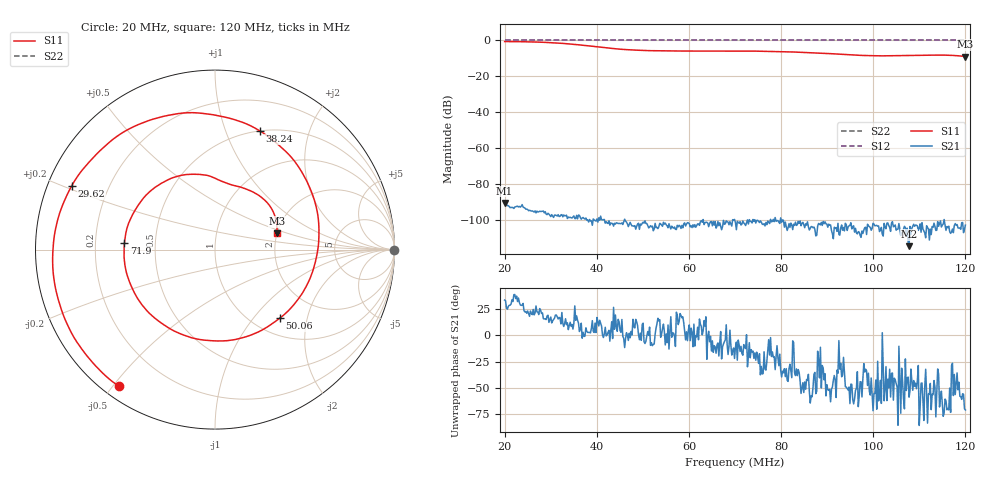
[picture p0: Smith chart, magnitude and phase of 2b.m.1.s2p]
! Anritsu VNA Master:  Model: MS2036C/10/77
! SN:  1601066
! /card0/usr/18may27.balun/252b.m.s2p
! Existing Calibration Information:
! TYPE:  Current Settings,  Active Cal Settings
! TIME:  05/27/2018 11:58:24 AM,  05/27/2018 11:54:56 AM
! INTERNAL TEMP:  50.0 C,  49.3 C
! # POINTS:  500,  500
! START FREQ:  20.000 MHz,  20.000 MHz
! STOP FREQ:  120.000 MHz,  120.000 MHz
! SOURCE POWER:  High,  High
! IFBW:  50 Hz,  50 Hz
! AVG FACTOR:  1 ,  1
! REF PLANE 1:  0 mm,  0 mm
! REF PLANE 2:  0 mm,  0 mm
! CAL TYPE:  Full S11,  Full S11
! CAL METHOD:  SOLT,  SOLT
! CAL LINE TYPE:  Coax,  Coax
! DUT PORT 1:  K-Conn(M),  K-Conn(M)
! DUT PORT 2:  K-Conn(M),  K-Conn(M)
! CAL STATUS:  OK: Accuracy High,  --
# GHZ S DB R 50.0
! FREQ.GHZ  S11DB  S11A  S21DB  S21A  S12DB  S12A  S22DB  S22A
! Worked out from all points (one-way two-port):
!   500 points, 20 MHz to 120 MHz, reference 50 ohm
!   highest |S21| = -90.58 dB at 20 MHz (marker M1); lowest = -114.7 dB at 107.8 MHz (marker M2)
!   lowest |S11| = -8.9 dB at 120 MHz (marker M3), VSWR 2.11, Z = 99.8 + j20.8 ohm
!   |S11| at or under -10 dB: nowhere
!   |S22| runs from 0.0 to 0.0 dB; largest |S21 - S12| = 1
!   S11 on the Smith chart (normalised r, x): 20 MHz: 0.05, -0.52; 29.62 MHz: 0.07, +0.21; 38.24 MHz: 0.50, +1.32; 50.06 MHz: 1.30, -1.38; 71.9 MHz: 0.33, +0.03; 120 MHz: 2.00, +0.42
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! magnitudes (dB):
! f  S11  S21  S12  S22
! 20 MHz  -0.6  -90.6  0.0  0.0
! 25.81 MHz  -0.8  -95.1  0.0  0.0
! 29.62 MHz  -1.2  -96.8  0.0  0.0
! 33.03 MHz  -1.7  -97.7  0.0  0.0
! 36.83 MHz  -2.7  -98.9  0.0  0.0
! 38.24 MHz  -3.0  -101.2  0.0  0.0
! 45.05 MHz  -4.9  -102.0  0.0  0.0
! 50.06 MHz  -5.6  -101.3  0.0  0.0
! 53.47 MHz  -5.8  -103.9  0.0  0.0
! 56.07 MHz  -5.9  -105.0  0.0  0.0
! 70.1 MHz  -5.9  -101.6  0.0  0.0
! 71.9 MHz  -5.9  -101.7  0.0  0.0
! 79.92 MHz  -6.2  -98.9  0.0  0.0
! 86.73 MHz  -6.8  -103.8  0.0  0.0
! 97.56 MHz  -8.3  -106.2  0.0  0.0
! 100.8 MHz  -8.5  -103.1  0.0  0.0
! 103.4 MHz  -8.6  -103.1  0.0  0.0
! 107.8 MHz  -8.4  -114.7  0.0  0.0
! 112.4 MHz  -8.2  -105.1  0.0  0.0
! 115.4 MHz  -8.2  -99.8  0.0  0.0
! 117.6 MHz  -8.4  -103.2  0.0  0.0
! 120 MHz  -8.9  -102.9  0.0  0.0
